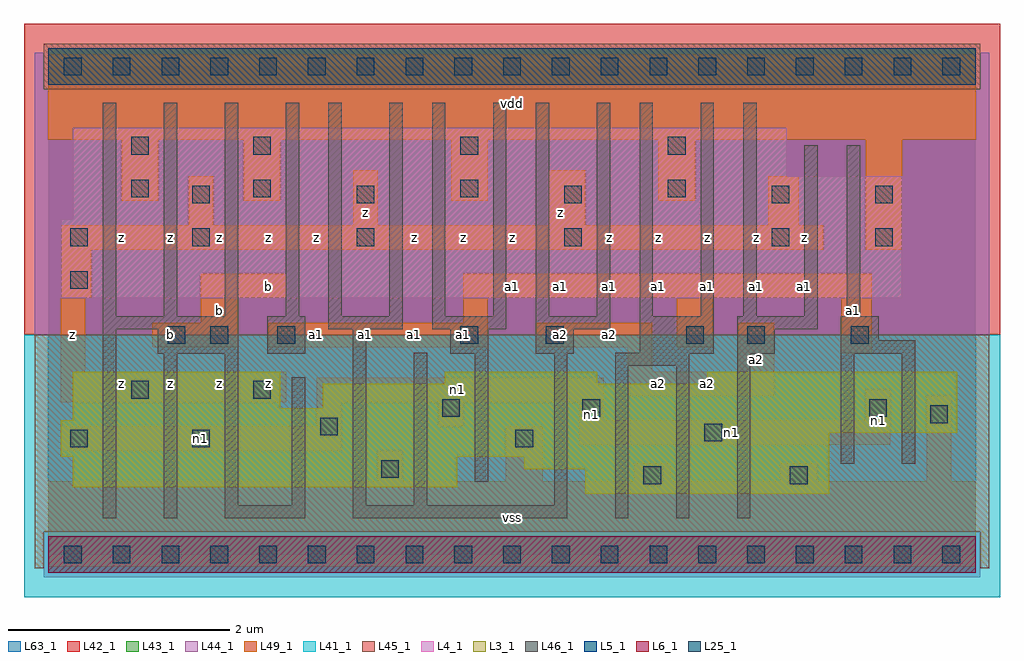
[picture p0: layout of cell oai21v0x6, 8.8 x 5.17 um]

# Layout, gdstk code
import gdstk
lib = gdstk.Library(unit=1e-6, precision=1e-09)
def R(c, l, rs):  # rectangles x0, y0, x1, y1
    for r in rs: c.add(gdstk.rectangle(r[:2], r[2:], *l))
def A(c, l, x, y, w, h, nx, ny, dx, dy):  # array of equal rectangles
    R(c, l, [(x+i*dx, y+j*dy, x+i*dx+w, y+j*dy+h) for i in range(nx) for j in range(ny)])
L3_1 = (3, 1)
L4_1 = (4, 1)
L5_1 = (5, 1)
L6_1 = (6, 1)
L25_1 = (25, 1)
L41_1 = (41, 1)
L42_1 = (42, 1)
L43_1 = (43, 1)
L44_1 = (44, 1)
L45_1 = (45, 1)
L46_1 = (46, 1)
L49_1 = (49, 1)
L63_1 = (63, 1)

oai21v0x6 = lib.new_cell('oai21v0x6')
R(oai21v0x6, L3_1, [(4.84,0.55,7.04,0.77), (0.22,0.605,3.685,0.88), (4.29,0.77,7.04,0.88), (0.11,0.88,7.04,1.1), (0.11,1.1,8.195,1.21), (0.22,1.21,8.195,1.32), (0.22,1.32,2.09,1.65), (2.475,1.32,8.195,1.54), (3.575,1.54,4.95,1.65), (5.94,1.54,8.195,1.65)])
R(oai21v0x6, L4_1, [(0.11,2.31,7.7,3.025), (0.22,3.025,7.7,3.41), (0.22,3.41,6.655,3.85)])
R(oai21v0x6, L5_1, [(0,4.235,8.36,4.565)])
R(oai21v0x6, L6_1, [(0,-0.165,8.36,0.165)])
A(oai21v0x6, L25_1, 0.14, -0.08, 0.16, 0.16, 19, 2, 0.44, 4.4)
A(oai21v0x6, L25_1, 2.78, 2.78, 0.16, 0.16, 3, 2, 1.87, 0.385)
A(oai21v0x6, L25_1, 1.845, 3.22, 0.16, 0.16, 3, 2, 1.87, 0.385)
R(oai21v0x6, L25_1, [(5.365,0.635,5.525,0.795), (6.685,0.635,6.845,0.795), (3,0.69,3.16,0.85), (0.195,0.965,0.355,1.125), (1.295,0.965,1.455,1.125), (4.21,0.965,4.37,1.125), (5.915,1.02,6.075,1.18), (2.45,1.075,2.61,1.235), (7.95,1.185,8.11,1.345), (3.55,1.24,3.71,1.4), (4.815,1.24,4.975,1.4), (7.4,1.24,7.56,1.4), (0.745,1.405,0.905,1.565), (1.845,1.405,2.005,1.565), (1.075,1.9,1.235,2.06), (1.46,1.9,1.62,2.06), (2.065,1.9,2.225,2.06), (3.715,1.9,3.875,2.06), (4.485,1.9,4.645,2.06), (5.75,1.9,5.91,2.06), (6.3,1.9,6.46,2.06), (7.235,1.9,7.395,2.06), (0.195,2.395,0.355,2.555), (0.195,2.78,0.355,2.94), (1.295,2.78,1.455,2.94), (7.455,2.78,7.615,2.94), (1.295,3.165,1.455,3.325), (7.455,3.165,7.615,3.325), (0.745,3.22,0.905,3.38), (0.745,3.605,0.905,3.765)])
R(oai21v0x6, L41_1, [(-0.22,-0.385,8.58,1.98)])
R(oai21v0x6, L42_1, [(-0.22,1.98,8.58,4.785)])
R(oai21v0x6, L43_1, [(0,-0.165,8.36,0.165), (4.84,0.55,7.04,0.77), (0.22,0.605,3.685,0.88), (4.29,0.77,7.04,0.88), (0.11,0.88,7.04,1.1), (0.11,1.1,8.195,1.21), (0.22,1.21,8.195,1.32), (0.22,1.32,2.09,1.65), (2.475,1.32,8.195,1.54), (3.575,1.54,4.95,1.65), (5.94,1.54,8.195,1.65), (0.11,2.31,7.7,3.025), (0.22,3.025,7.7,3.41), (0.22,3.41,6.655,3.85), (0,4.235,8.36,4.565)])
R(oai21v0x6, L44_1, [(-0.04,-0.205,8.4,0.205), (-0.125,1.98,8.485,4.195), (-0.125,4.195,-0.04,4.525), (8.4,4.195,8.485,4.525)])
R(oai21v0x6, L45_1, [(-0.125,-0.125,-0.04,0.205), (8.4,-0.125,8.485,0.205), (-0.125,0.205,8.485,1.98), (-0.04,4.195,8.4,4.605)])
A(oai21v0x6, L46_1, 2.525, 2.03, 0.67, 0.12, 3, 1, 0.935, 0)
A(oai21v0x6, L46_1, 0.49, 2.15, 0.12, 1.925, 4, 1, 0.55, 0)
R(oai21v0x6, L46_1, [(0.49,0.325,0.61,2.03), (1.04,0.325,1.16,1.81), (1.59,0.325,2.315,0.445), (2.745,0.325,4.68,0.445), (5.11,0.325,5.23,1.7), (5.66,0.325,5.78,1.7), (6.21,0.325,6.33,1.81), (1.59,0.445,1.71,1.81), (2.195,0.445,2.315,1.6), (2.745,0.445,2.865,2.03), (3.295,0.445,3.415,1.82), (4.56,0.445,4.68,1.81), (3.845,0.655,3.965,1.81), (7.145,0.82,7.265,1.81), (7.695,0.82,7.815,1.81), (5.11,1.7,5.78,1.81), (0.985,1.81,1.71,2.03), (1.975,1.81,2.315,2.15), (3.625,1.81,3.965,2.03), (4.395,1.81,4.735,2.03), (5.11,1.81,6,1.82), (6.21,1.81,6.55,2.03), (7.145,1.81,7.815,1.93), (5.33,1.82,6,2.15), (7.145,1.93,7.485,2.15), (0.49,2.03,1.71,2.15), (6.21,2.03,6.935,2.15), (2.525,2.15,2.645,4.075), (3.075,2.15,3.195,4.075), (3.46,2.15,3.58,4.075), (4.01,2.15,4.13,4.075), (4.395,2.15,4.515,4.075), (4.945,2.15,5.065,4.075), (5.33,2.15,5.45,4.075), (5.88,2.15,6,4.075), (6.265,2.15,6.385,4.075), (6.815,2.15,6.935,3.69), (7.2,2.15,7.32,3.69)])
A(oai21v0x6, L49_1, 1.76, 3.19, 0.33, 0.55, 3, 1, 1.87, 0)
R(oai21v0x6, L49_1, [(0,-0.11,8.36,0.66), (2.97,0.66,3.19,0.935), (4.125,0.66,4.455,1.155), (5.28,0.66,5.61,0.825), (6.6,0.66,6.93,0.825), (7.92,0.66,8.14,1.43), (0.11,0.935,2.64,1.155), (4.785,0.99,7.59,1.21), (2.42,1.155,2.64,1.375), (3.52,1.155,3.74,1.375), (4.785,1.21,5.005,1.375), (7.37,1.21,7.59,1.485), (0.11,1.375,2.145,1.65), (2.42,1.375,5.005,1.595), (5.225,1.43,6.545,1.65), (0.11,1.65,0.33,2.31), (5.225,1.65,5.445,1.87), (6.215,1.65,6.545,2.09), (7.15,1.815,7.425,2.31), (0.935,1.87,1.705,2.09), (1.98,1.87,3.96,2.09), (4.4,1.87,5.445,2.09), (5.665,1.87,5.995,2.31), (1.375,2.09,1.705,2.31), (3.74,2.09,3.96,2.31), (0.11,2.31,0.385,2.75), (1.375,2.31,2.145,2.53), (3.74,2.31,7.425,2.53), (0.11,2.75,6.985,2.97), (7.37,2.75,7.7,3.74), (1.265,2.97,1.485,3.41), (2.75,2.97,2.97,3.465), (4.51,2.97,4.84,3.465), (6.49,2.97,6.765,3.41), (0.66,3.19,0.99,3.74), (0,3.74,8.36,4.51)])
R(oai21v0x6, L63_1, [(0,0,8.36,4.4)])
oai21v0x6.add(gdstk.Label('z', (0.66,1.54), layer=49, texttype=1))
oai21v0x6.add(gdstk.Label('z', (1.1,1.54), layer=49, texttype=1))
oai21v0x6.add(gdstk.Label('b', (1.1,1.98), layer=49, texttype=1))
oai21v0x6.add(gdstk.Label('z', (0.22,1.98), layer=49, texttype=1))
oai21v0x6.add(gdstk.Label('z', (0.66,2.86), layer=49, texttype=1))
oai21v0x6.add(gdstk.Label('z', (1.1,2.86), layer=49, texttype=1))
oai21v0x6.add(gdstk.Label('n1', (1.375,1.045), layer=49, texttype=1))
oai21v0x6.add(gdstk.Label('z', (1.54,1.54), layer=49, texttype=1))
oai21v0x6.add(gdstk.Label('z', (1.98,1.54), layer=49, texttype=1))
oai21v0x6.add(gdstk.Label('a1', (2.42,1.98), layer=49, texttype=1))
oai21v0x6.add(gdstk.Label('b', (1.54,2.2), layer=49, texttype=1))
oai21v0x6.add(gdstk.Label('b', (1.98,2.42), layer=49, texttype=1))
oai21v0x6.add(gdstk.Label('z', (1.54,2.86), layer=49, texttype=1))
oai21v0x6.add(gdstk.Label('z', (1.98,2.86), layer=49, texttype=1))
oai21v0x6.add(gdstk.Label('z', (2.42,2.86), layer=49, texttype=1))
oai21v0x6.add(gdstk.Label('a1', (2.86,1.98), layer=49, texttype=1))
oai21v0x6.add(gdstk.Label('a1', (3.74,1.98), layer=49, texttype=1))
oai21v0x6.add(gdstk.Label('a1', (3.3,1.98), layer=49, texttype=1))
oai21v0x6.add(gdstk.Label('z', (3.3,2.86), layer=49, texttype=1))
oai21v0x6.add(gdstk.Label('z', (3.74,2.86), layer=49, texttype=1))
oai21v0x6.add(gdstk.Label('z', (2.86,3.08), layer=49, texttype=1))
oai21v0x6.add(gdstk.Label('vss', (4.18,0.33), layer=49, texttype=1))
oai21v0x6.add(gdstk.Label('a2', (5.5,1.54), layer=49, texttype=1))
oai21v0x6.add(gdstk.Label('n1', (4.895,1.265), layer=49, texttype=1))
oai21v0x6.add(gdstk.Label('n1', (3.685,1.485), layer=49, texttype=1))
oai21v0x6.add(gdstk.Label('a2', (5.06,1.98), layer=49, texttype=1))
oai21v0x6.add(gdstk.Label('a2', (4.62,1.98), layer=49, texttype=1))
oai21v0x6.add(gdstk.Label('a1', (4.62,2.42), layer=49, texttype=1))
oai21v0x6.add(gdstk.Label('a1', (5.06,2.42), layer=49, texttype=1))
oai21v0x6.add(gdstk.Label('a1', (5.5,2.42), layer=49, texttype=1))
oai21v0x6.add(gdstk.Label('a1', (4.18,2.42), layer=49, texttype=1))
oai21v0x6.add(gdstk.Label('z', (4.18,2.86), layer=49, texttype=1))
oai21v0x6.add(gdstk.Label('z', (5.06,2.86), layer=49, texttype=1))
oai21v0x6.add(gdstk.Label('z', (5.5,2.86), layer=49, texttype=1))
oai21v0x6.add(gdstk.Label('z', (4.62,3.08), layer=49, texttype=1))
oai21v0x6.add(gdstk.Label('vdd', (4.18,4.07), layer=49, texttype=1))
oai21v0x6.add(gdstk.Label('a2', (5.94,1.54), layer=49, texttype=1))
oai21v0x6.add(gdstk.Label('a2', (6.38,1.76), layer=49, texttype=1))
oai21v0x6.add(gdstk.Label('a1', (5.94,2.42), layer=49, texttype=1))
oai21v0x6.add(gdstk.Label('a1', (6.38,2.42), layer=49, texttype=1))
oai21v0x6.add(gdstk.Label('a1', (6.82,2.42), layer=49, texttype=1))
oai21v0x6.add(gdstk.Label('z', (6.82,2.86), layer=49, texttype=1))
oai21v0x6.add(gdstk.Label('z', (5.94,2.86), layer=49, texttype=1))
oai21v0x6.add(gdstk.Label('z', (6.38,2.86), layer=49, texttype=1))
oai21v0x6.add(gdstk.Label('n1', (6.16,1.1), layer=49, texttype=1))
oai21v0x6.add(gdstk.Label('n1', (7.48,1.21), layer=49, texttype=1))
oai21v0x6.add(gdstk.Label('a1', (7.26,2.2), layer=49, texttype=1))

lib.write_gds('oai21v0x6.gds')
